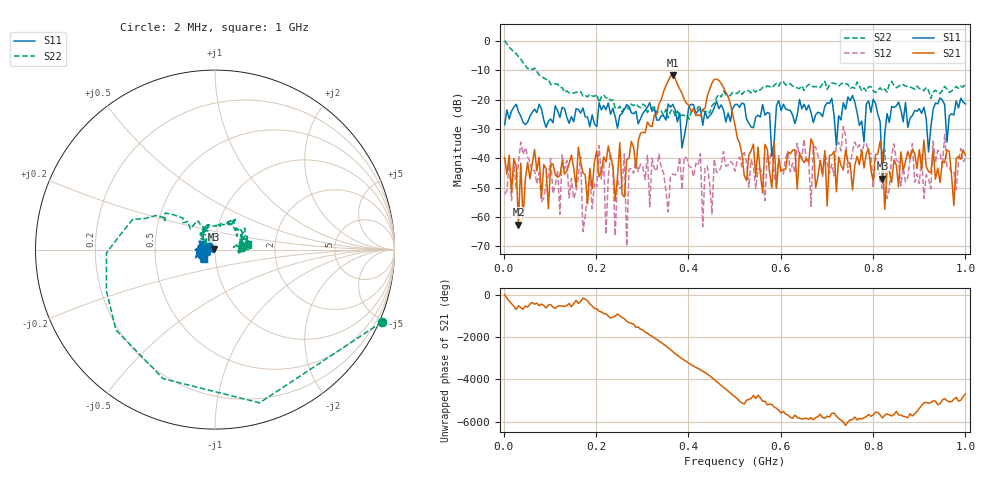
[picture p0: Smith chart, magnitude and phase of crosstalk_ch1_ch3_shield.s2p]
!Keysight Technologies N9923A: A.12.45
!Date: Friday, 10 October 2025 02:28:32
!Timezone: (UTC+08:00) Kuala Lumpur, Singapore
!Model: N9923A
!Serial: MY61181427
!GPS Latitude:
!GPS Longitude:
!GPS TimeStamp: 0001-01-01 00:00:00Z
!GPS Seconds Since Last Read: 0
!CHECKSUM:1113169006
!Correction: S11(ON U?)S21(ON U?)S12(ON U?)S22(ON U?)
!S2P File: Measurements:S11,S21,S12,S22:
# Hz S DB R 50
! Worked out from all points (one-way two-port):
!   201 points, 2 MHz to 1 GHz, reference 50 ohm
!   highest |S21| = -11.60 dB at 366.3 MHz (marker M1); lowest = -62.5 dB at 31.94 MHz (marker M2)
!   lowest |S11| = -46.9 dB at 820.4 MHz (marker M3), VSWR 1.01, Z = 49.6 + j0.133 ohm
!   |S11| at or under -10 dB: start of sweep to end of sweep
!   |S22| runs from -26.6 to 0.1 dB; largest |S21 - S12| = 0.26
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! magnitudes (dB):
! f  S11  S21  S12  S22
! 2 MHz  -28.6  -39.8  -52.2  0.1
! 31.94 MHz  -24.1  -62.5  -41.7  -5.4
! 36.93 MHz  -25.6  -41.6  -34.5  -6.2
! 121.8 MHz  -26.1  -45.9  -59.0  -15.9
! 166.7 MHz  -24.6  -41.3  -39.4  -17.3
! 171.7 MHz  -22.9  -45.0  -65.0  -18.8
! 206.6 MHz  -21.1  -46.3  -35.7  -21.0
! 221.6 MHz  -23.4  -41.2  -65.8  -19.5
! 231.5 MHz  -25.0  -39.6  -38.5  -20.3
! 241.5 MHz  -25.8  -54.4  -66.4  -22.9
! 261.5 MHz  -23.3  -53.1  -38.5  -22.8
! 266.5 MHz  -21.7  -40.4  -69.9  -22.5
! 271.5 MHz  -22.3  -39.9  -43.7  -23.3
! 336.3 MHz  -27.0  -21.6  -38.5  -23.9
! 366.3 MHz  -21.6  -11.6  -45.3  -23.2
! 501 MHz  -21.7  -28.6  -44.4  -17.8
! 560.9 MHz  -21.7  -51.8  -45.1  -15.8
! 670.7 MHz  -27.8  -35.5  -36.0  -15.7
! 800.4 MHz  -19.9  -47.8  -50.2  -17.0
! 820.4 MHz  -46.9  -38.4  -50.2  -17.0
! 835.3 MHz  -27.8  -44.4  -50.4  -14.7
! 1 GHz  -21.5  -39.0  -40.2  -14.6
